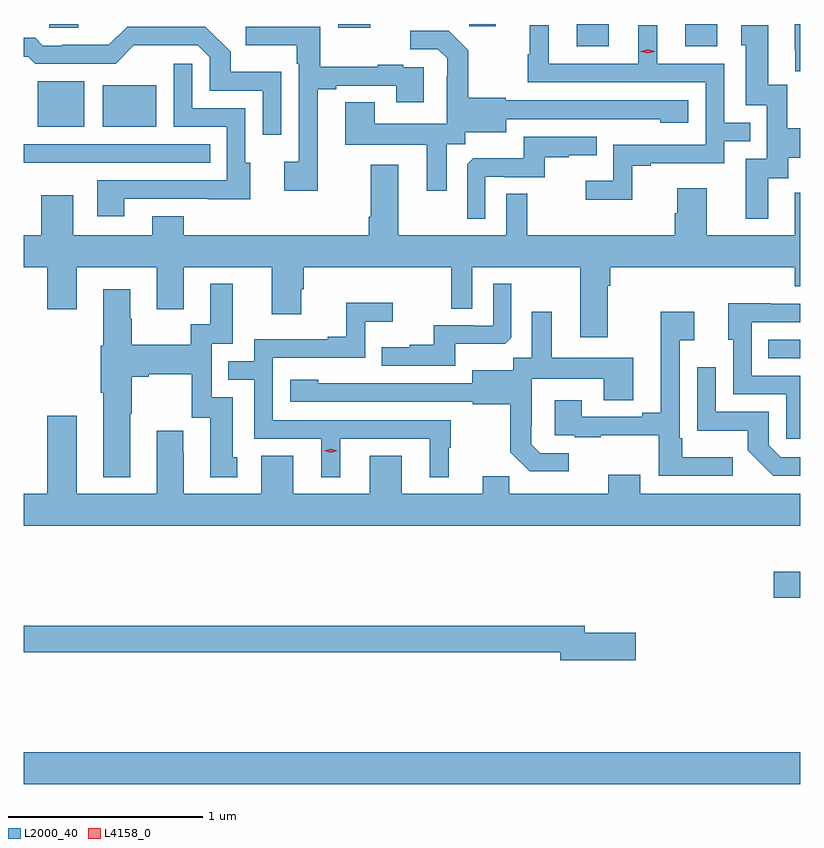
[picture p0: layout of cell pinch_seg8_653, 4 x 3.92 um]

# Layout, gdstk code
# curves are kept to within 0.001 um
import gdstk
lib = gdstk.Library(unit=1e-6, precision=1e-09)
def R(c, l, rs):  # rectangles x0, y0, x1, y1
    for r in rs: c.add(gdstk.rectangle(r[:2], r[2:], *l))
def P(c, l, *ps):  # polygons
    for p in ps: c.add(gdstk.Polygon(p, *l))
L2000_40 = (2000, 40)
L4158_0 = (4158, 0)

pinch_seg8_653 = lib.new_cell('pinch_seg8_653')
R(pinch_seg8_653, L2000_40, [(347.951,1104.512,351.951,1104.676), (351.816,1105.472,351.951,1105.606), (351.787,1106.706,351.951,1106.802), (348.023,1107.899,348.262,1108.135), (348.356,1107.899,348.634,1108.114), (350.801,1108.314,350.965,1108.429), (351.359,1108.314,351.523,1108.429), (349.571,1108.409,349.735,1108.429), (348.082,1108.41,348.232,1108.429), (350.245,1108.418,350.383,1108.429)])
P(pinch_seg8_653, L2000_40, [(351.951,1108.429),(351.923,1108.429),(351.923,1108.297),(351.926,1108.297),(351.926,1108.185),(351.951,1108.185)],
  [(351.087,1107.699),(351.181,1107.699),(351.181,1107.711),(351.561,1107.711),(351.561,1107.825),(351.695,1107.825),(351.695,1107.921),(351.561,1107.921),(351.561,1108.224),(351.214,1108.224),(351.214,1108.423),(351.116,1108.423),(351.116,1108.224),(350.656,1108.224),(350.656,1108.423),(350.558,1108.423),(350.558,1108.272),(350.547,1108.272),(350.547,1108.128),(351.465,1108.128),(351.465,1107.807),(350.988,1107.807),(350.988,1107.622),(350.847,1107.622),(350.847,1107.524),(351.087,1107.524)],
  [(351.787,1107.634),(351.889,1107.634),(351.889,1107.74),(351.951,1107.74),(351.951,1107.892),(351.885,1107.892),(351.885,1108.115),(351.787,1108.115),(351.787,1108.423),(351.647,1108.423),(351.647,1108.32),(351.671,1108.32),(351.671,1108.011),(351.78,1108.011),(351.78,1107.735),(351.671,1107.735),(351.671,1107.426),(351.787,1107.426)],
  [(349.278,1108.183),(349.017,1108.183),(349.017,1108.286),(348.886,1108.416),(348.483,1108.416),(348.389,1108.322),(348.148,1108.322),(348.148,1108.317),(348.048,1108.317),(348.009,1108.357),(347.951,1108.357),(347.951,1108.26),(347.973,1108.26),(348.009,1108.224),(348.423,1108.224),(348.518,1108.319),(348.846,1108.32),(348.909,1108.257),(348.909,1108.086),(349.182,1108.086),(349.182,1107.858),(349.278,1107.858)],
  [(349.465,1108.092),(349.561,1108.092),(349.561,1108.11),(349.871,1108.11),(349.871,1108.026),(350.011,1108.026),(350.011,1108.206),(349.907,1108.206),(349.907,1108.219),(349.775,1108.219),(349.775,1108.208),(349.477,1108.208),(349.477,1108.416),(349.095,1108.416),(349.095,1108.319),(349.356,1108.319),(349.356,1108.223),(349.368,1108.223),(349.368,1107.718),(349.293,1107.718),(349.293,1107.57),(349.465,1107.57)],
  [(350.131,1107.808),(350.226,1107.808),(350.226,1107.872),(350.437,1107.872),(350.437,1107.939),(351.231,1107.938),(351.231,1107.92),(351.376,1107.92),(351.376,1108.035),(350.433,1108.035),(350.433,1108.048),(350.241,1108.048),(350.241,1108.293),(350.141,1108.393),(349.941,1108.393),(349.941,1108.299),(350.085,1108.299),(350.132,1108.252),(350.132,1108.157),(350.13,1108.157),(350.13,1107.916),(349.759,1107.916),(349.759,1108.025),(349.607,1108.025),(349.607,1107.806),(350.027,1107.806),(350.027,1107.57),(350.131,1107.57)],
  [(348.469,1107.528),(348.899,1107.528),(348.899,1107.527),(349.117,1107.527),(349.117,1107.714),(349.092,1107.714),(349.092,1107.996),(348.819,1107.996),(348.819,1108.225),(348.723,1108.225),(348.723,1107.9),(348.996,1107.9),(348.996,1107.624),(348.329,1107.624),(348.329,1107.438),(348.469,1107.438)],
  [(350.328,1107.642),(350.428,1107.642),(350.428,1107.639),(350.636,1107.639),(350.636,1107.741),(350.759,1107.741),(350.759,1107.752),(350.903,1107.752),(350.903,1107.849),(350.526,1107.849),(350.526,1107.737),(350.267,1107.737),(350.235,1107.705),(350.235,1107.425),(350.328,1107.425)],
  [(348.233,1107.714),(348.911,1107.714),(348.911,1107.81),(347.951,1107.81),(347.951,1107.713),(348.233,1107.713)],
  [(350.959,1107.08),(350.972,1107.08),(350.972,1107.176),(351.923,1107.176),(351.923,1107.077),(351.951,1107.077),(351.951,1107.559),(351.923,1107.559),(351.923,1107.34),(351.469,1107.34),(351.469,1107.583),(351.317,1107.583),(351.317,1107.453),(351.305,1107.453),(351.305,1107.34),(350.545,1107.34),(350.545,1107.554),(350.436,1107.554),(350.436,1107.34),(349.879,1107.34),(349.879,1107.703),(349.739,1107.703),(349.739,1107.436),(349.727,1107.436),(349.727,1107.34),(348.775,1107.34),(348.775,1107.439),(348.611,1107.439),(348.611,1107.34),(348.205,1107.34),(348.205,1107.547),(348.041,1107.547),(348.041,1107.34),(347.951,1107.34),(347.951,1107.176),(348.071,1107.176),(348.071,1106.958),(348.223,1106.958),(348.223,1107.176),(348.635,1107.176),(348.635,1106.958),(348.775,1106.958),(348.775,1107.176),(349.229,1107.176),(349.229,1106.934),(349.381,1106.934),(349.381,1107.063),(349.394,1107.063),(349.394,1107.176),(350.154,1107.176),(350.154,1106.962),(350.262,1106.962),(350.262,1107.176),(350.819,1107.176),(350.819,1106.814),(350.959,1106.814)],
  [(348.499,1106.419),(348.507,1106.419),(348.507,1106.612),(348.595,1106.612),(348.595,1106.624),(348.815,1106.624),(348.815,1106.4),(348.911,1106.4),(348.911,1106.094),(349.051,1106.094),(349.051,1106.196),(349.027,1106.196),(349.027,1106.505),(348.918,1106.505),(348.918,1106.781),(349.027,1106.781),(349.027,1107.091),(348.911,1107.091),(348.911,1106.882),(348.81,1106.882),(348.81,1106.776),(348.507,1106.776),(348.507,1106.91),(348.499,1106.91),(348.499,1107.061),(348.359,1107.061),(348.359,1106.772),(348.347,1106.772),(348.347,1106.528),(348.359,1106.528),(348.359,1106.093),(348.499,1106.093)],
  [(350.173,1106.78),(350.431,1106.78),(350.463,1106.811),(350.463,1107.091),(350.37,1107.091),(350.37,1106.874),(350.27,1106.874),(350.27,1106.877),(350.063,1106.877),(350.063,1106.776),(349.939,1106.776),(349.939,1106.764),(349.795,1106.764),(349.795,1106.667),(350.173,1106.667)],
  [(349.582,1106.292),(350.042,1106.292),(350.042,1106.093),(350.14,1106.093),(350.14,1106.244),(350.152,1106.244),(350.152,1106.388),(349.233,1106.388),(349.233,1106.709),(349.71,1106.709),(349.71,1106.894),(349.852,1106.894),(349.852,1106.993),(349.612,1106.993),(349.612,1106.818),(349.517,1106.818),(349.517,1106.805),(349.137,1106.805),(349.137,1106.691),(349.003,1106.691),(349.003,1106.595),(349.137,1106.595),(349.137,1106.292),(349.484,1106.292),(349.484,1106.093),(349.582,1106.093)],
  [(351.951,1106.616),(351.702,1106.616),(351.702,1106.892),(351.951,1106.892),(351.951,1106.988),(351.799,1106.988),(351.799,1106.99),(351.581,1106.99),(351.581,1106.802),(351.606,1106.802),(351.606,1106.52),(351.879,1106.52),(351.879,1106.292),(351.951,1106.292)],
  [(350.758,1106.217),(350.613,1106.217),(350.566,1106.264),(350.566,1106.359),(350.568,1106.359),(350.568,1106.6),(350.939,1106.6),(350.939,1106.491),(351.091,1106.491),(351.091,1106.71),(350.671,1106.71),(350.671,1106.947),(350.567,1106.947),(350.567,1106.708),(350.472,1106.708),(350.472,1106.644),(350.261,1106.644),(350.261,1106.577),(349.467,1106.578),(349.467,1106.596),(349.323,1106.596),(349.323,1106.481),(350.265,1106.481),(350.265,1106.469),(350.457,1106.469),(350.457,1106.223),(350.557,1106.123),(350.758,1106.123)],
  [(351.604,1106.197),(351.343,1106.197),(351.343,1106.293),(351.33,1106.293),(351.33,1106.798),(351.406,1106.798),(351.406,1106.947),(351.233,1106.947),(351.233,1106.425),(351.137,1106.425),(351.137,1106.406),(350.827,1106.406),(350.827,1106.491),(350.687,1106.491),(350.687,1106.31),(350.791,1106.31),(350.791,1106.298),(350.923,1106.298),(350.923,1106.309),(351.222,1106.309),(351.222,1106.1),(351.604,1106.1)],
  [(351.951,1106.196),(351.852,1106.196),(351.789,1106.259),(351.789,1106.43),(351.516,1106.43),(351.516,1106.659),(351.42,1106.659),(351.42,1106.333),(351.682,1106.333),(351.682,1106.231),(351.812,1106.1),(351.951,1106.1)],
  [(348.772,1106.219),(348.772,1106.332),(348.635,1106.332),(348.635,1106.008),(348.223,1106.008),(348.223,1106.41),(348.071,1106.41),(348.071,1106.008),(347.951,1106.008),(347.951,1105.844),(351.951,1105.844),(351.951,1106.008),(351.127,1106.008),(351.127,1106.107),(350.963,1106.107),(350.963,1106.008),(350.453,1106.008),(350.453,1106.099),(350.315,1106.099),(350.315,1106.008),(349.897,1106.008),(349.897,1106.203),(349.733,1106.203),(349.733,1106.008),(349.339,1106.008),(349.339,1106.203),(349.175,1106.203),(349.175,1106.008),(348.775,1106.008),(348.775,1106.219)],
  [(351.103,1105.292),(350.842,1105.292),(350.842,1105.328),(347.951,1105.328),(347.951,1105.192),(350.714,1105.192),(350.714,1105.15),(351.103,1105.15)])
P(pinch_seg8_653, L4158_0, [(349.533,1106.22),(349.498,1106.23),(349.497,1106.23),(349.498,1106.23),(349.533,1106.24),(349.568,1106.23),(349.568,1106.23),(349.568,1106.23)],
  [(351.165,1108.278),(351.129,1108.287),(351.129,1108.288),(351.129,1108.288),(351.165,1108.298),(351.201,1108.288),(351.201,1108.288),(351.201,1108.287)])

lib.write_gds('pinch_seg8_653.gds')
